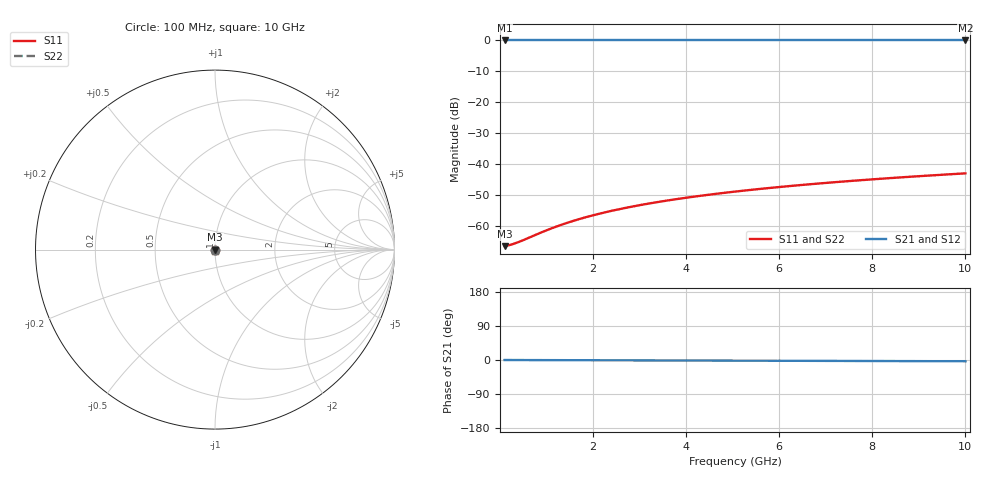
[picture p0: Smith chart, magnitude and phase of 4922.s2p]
# Hz S RI R 50.00
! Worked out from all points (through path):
!   100 points, 100 MHz to 10 GHz, reference 50 ohm
!   highest |S21| = 0.00 dB at 100 MHz (marker M1); lowest = 0.0 dB at 10 GHz (marker M2)
!   lowest |S11| = -66.4 dB at 100 MHz (marker M3), VSWR 1.00, Z = 50 - j0.00715 ohm
!   |S11| at or under -10 dB: start of sweep to end of sweep
!   |S22| runs from -66.4 to -42.9 dB; largest |S21 - S12| = 0
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1e8  0.000473 -7.14e-05  0.9995 -0.000586  0.9995 -0.000586  0.000473 -7.14e-05
2e8  0.000475 -0.000143  0.9995 -0.00117  0.9995 -0.00117  0.000475 -0.000143
3e8  0.000477 -0.000214  0.9995 -0.00176  0.9995 -0.00176  0.000477 -0.000214
4e8  0.000478 -0.000286  0.9995 -0.00234  0.9995 -0.00234  0.000478 -0.000286
9e8  0.000481 -0.000643  0.9995 -0.00527  0.9995 -0.00527  0.000481 -0.000643
1.2e9  0.00048 -0.000857  0.9995 -0.00703  0.9995 -0.00703  0.00048 -0.000857
1.5e9  0.000479 -0.00107  0.9995 -0.00879  0.9995 -0.00879  0.000479 -0.00107
1.8e9  0.000476 -0.00129  0.9994 -0.0105  0.9994 -0.0105  0.000476 -0.00129
2.1e9  0.000472 -0.0015  0.9994 -0.0123  0.9994 -0.0123  0.000472 -0.0015
2.5e9  0.000466 -0.00179  0.9994 -0.0146  0.9994 -0.0146  0.000466 -0.00179
2.9e9  0.000459 -0.00207  0.9993 -0.017  0.9993 -0.017  0.000459 -0.00207
3.4e9  0.000447 -0.00243  0.9993 -0.0199  0.9993 -0.0199  0.000447 -0.00243
3.8e9  0.000436 -0.00271  0.9992 -0.0223  0.9992 -0.0223  0.000436 -0.00271
4.2e9  0.000424 -0.003  0.9992 -0.0246  0.9992 -0.0246  0.000424 -0.003
4.6e9  0.00041 -0.00329  0.9991 -0.027  0.9991 -0.027  0.00041 -0.00329
5.1e9  0.000391 -0.00364  0.999 -0.0299  0.999 -0.0299  0.000391 -0.00364
5.9e9  0.000356 -0.00422  0.9989 -0.0346  0.9989 -0.0346  0.000356 -0.00422
6.7e9  0.000316 -0.00479  0.9987 -0.0393  0.9987 -0.0393  0.000316 -0.00479
7.5e9  0.00027 -0.00536  0.9985 -0.044  0.9985 -0.044  0.00027 -0.00536
8.4e9  0.000213 -0.00601  0.9982 -0.0492  0.9982 -0.0492  0.000213 -0.00601
9.2e9  0.000156 -0.00658  0.998 -0.0539  0.998 -0.0539  0.000156 -0.00658
1e10  9.33e-05 -0.00715  0.9977 -0.0586  0.9977 -0.0586  9.33e-05 -0.00715
